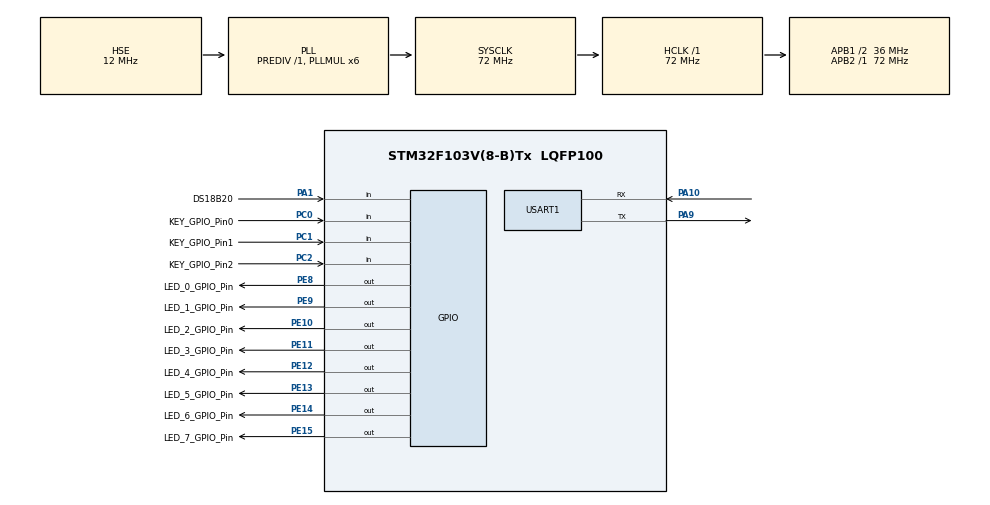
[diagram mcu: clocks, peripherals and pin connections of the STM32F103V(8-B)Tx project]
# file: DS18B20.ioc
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Mcu.Family=STM32F1
Mcu.Name=STM32F103V(8-B)Tx
Mcu.Package=LQFP100
NVIC.PriorityGroup=NVIC_PRIORITYGROUP_4
NVIC.TIM2_IRQn=true\:0\:0\:false\:false\:true\:true\:true
NVIC.TIM3_IRQn=true\:0\:0\:false\:false\:true\:true\:true
OSC_IN.Mode=HSE-External-Oscillator
OSC_IN.Signal=RCC_OSC_IN
OSC_OUT.Mode=HSE-External-Oscillator
OSC_OUT.Signal=RCC_OSC_OUT
PA1.GPIO_Label=DS18B20
PA1.GPIO_PuPd=GPIO_PULLUP
PA1.Signal=GPIO_Input
PA10.Mode=Asynchronous
PA10.Signal=USART1_RX
PA13.Mode=Serial_Wire
PA13.Signal=SYS_JTMS-SWDIO
PA14.Mode=Serial_Wire
PA14.Signal=SYS_JTCK-SWCLK
PA9.Mode=Asynchronous
PA9.Signal=USART1_TX
PC0.GPIO_Label=KEY_GPIO_Pin0
PC0.GPIO_PuPd=GPIO_PULLDOWN
PC0.Signal=GPIO_Input
PC1.GPIO_Label=KEY_GPIO_Pin1
PC1.GPIO_PuPd=GPIO_PULLDOWN
PC1.Signal=GPIO_Input
PC2.GPIO_Label=KEY_GPIO_Pin2
PC2.GPIO_PuPd=GPIO_PULLDOWN
PC2.Signal=GPIO_Input
PE10.GPIO_Label=LED_2_GPIO_Pin
PE10.GPIO_ModeDefaultOutputPP=GPIO_MODE_OUTPUT_PP
PE10.GPIO_PuPd=GPIO_PULLUP
PE10.GPIO_Speed=GPIO_SPEED_FREQ_HIGH
PE10.PinState=GPIO_PIN_SET
PE10.Signal=GPIO_Output
PE11.GPIO_Label=LED_3_GPIO_Pin
PE11.GPIO_ModeDefaultOutputPP=GPIO_MODE_OUTPUT_PP
PE11.GPIO_PuPd=GPIO_PULLUP
PE11.GPIO_Speed=GPIO_SPEED_FREQ_HIGH
PE11.PinState=GPIO_PIN_SET
PE11.Signal=GPIO_Output
PE12.GPIO_Label=LED_4_GPIO_Pin
PE12.GPIO_ModeDefaultOutputPP=GPIO_MODE_OUTPUT_PP
PE12.GPIO_PuPd=GPIO_PULLUP
PE12.GPIO_Speed=GPIO_SPEED_FREQ_HIGH
PE12.PinState=GPIO_PIN_SET
PE12.Signal=GPIO_Output
PE13.GPIO_Label=LED_5_GPIO_Pin
PE13.GPIO_ModeDefaultOutputPP=GPIO_MODE_OUTPUT_PP
PE13.GPIO_PuPd=GPIO_PULLUP
PE13.GPIO_Speed=GPIO_SPEED_FREQ_HIGH
PE13.PinState=GPIO_PIN_SET
PE13.Signal=GPIO_Output
PE14.GPIO_Label=LED_6_GPIO_Pin
PE14.GPIO_ModeDefaultOutputPP=GPIO_MODE_OUTPUT_PP
PE14.GPIO_PuPd=GPIO_PULLUP
PE14.GPIO_Speed=GPIO_SPEED_FREQ_HIGH
PE14.PinState=GPIO_PIN_SET
PE14.Signal=GPIO_Output
PE15.GPIO_Label=LED_7_GPIO_Pin
PE15.GPIO_ModeDefaultOutputPP=GPIO_MODE_OUTPUT_PP
PE15.GPIO_PuPd=GPIO_PULLUP
PE15.GPIO_Speed=GPIO_SPEED_FREQ_HIGH
PE15.PinState=GPIO_PIN_SET
PE15.Signal=GPIO_Output
PE8.GPIO_Label=LED_0_GPIO_Pin
PE8.GPIO_PuPd=GPIO_PULLUP
PE8.GPIO_Speed=GPIO_SPEED_FREQ_HIGH
PE8.PinState=GPIO_PIN_SET
PE8.Signal=GPIO_Output
PE9.GPIO_Label=LED_1_GPIO_Pin
PE9.GPIO_ModeDefaultOutputPP=GPIO_MODE_OUTPUT_PP
PE9.GPIO_PuPd=GPIO_PULLUP
PE9.GPIO_Speed=GPIO_SPEED_FREQ_HIGH
PE9.PinState=GPIO_PIN_SET
PE9.Signal=GPIO_Output
ProjectManager.HeapSize=0x200
ProjectManager.StackSize=0x400
ProjectManager.TargetToolchain=MDK-ARM V5
RCC.AHBFreq_Value=72000000
RCC.APB1CLKDivider=RCC_HCLK_DIV2
RCC.APB1Freq_Value=36000000
RCC.APB1TimFreq_Value=72000000
RCC.APB2Freq_Value=72000000
RCC.APB2TimFreq_Value=72000000
RCC.HCLKFreq_Value=72000000
RCC.HSE_VALUE=12000000
RCC.PLLMUL=RCC_PLL_MUL6
RCC.PLLSourceVirtual=RCC_PLLSOURCE_HSE
RCC.SYSCLKFreq_VALUE=72000000
RCC.SYSCLKSource=RCC_SYSCLKSOURCE_PLLCLK
RCC.USBFreq_Value=72000000
TIM2.CounterMode=TIM_COUNTERMODE_UP
TIM2.Period=0xffff-1
TIM2.Prescaler=72-1
TIM3.CounterMode=TIM_COUNTERMODE_UP
TIM3.Period=0xffff-1
TIM3.Prescaler=7200-1
USART1.VirtualMode=VM_ASYNC
VP_TIM2_VS_ClockSourceITR.Mode=TriggerSource_ITR2
VP_TIM3_VS_ClockSourceITR.Mode=TriggerSource_ITR3
board=custom

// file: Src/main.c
/* USER CODE BEGIN Header */
/**
  ******************************************************************************
  * @file           : main.c
  * @brief          : Main program body
  ******************************************************************************
  * @attention
  *
  * <h2><center>&copy; Copyright (c) 2019 STMicroelectronics.
  * All rights reserved.</center></h2>
  *
  * This software component is licensed by ST under BSD 3-Clause license,
  * the "License"; You may not use this file except in compliance with the
  * License. You may obtain a copy of the License at:
  *                        opensource.org/licenses/BSD-3-Clause
  *
  ******************************************************************************
  */
/* USER CODE END Header */

#include "main.h"
#include "tim.h"
#include "usart.h"
#include "gpio.h"
#include "bsp_ds18b20.h"
/* USER CODE BEGIN Includes */
#include <stdio.h>
/* USER CODE END Includes */

/* USER CODE BEGIN PD */
//DS18B20 number
#define DS18B20_NO 6

/* USER CODE END PD */

/* USER CODE BEGIN PV */

ROM_Code Codes[DS18B20_NO];
u8 DS18B20_Number=0;/*the actual number of ds18b20*/
extern unsigned char ROM_NO[8];
extern char OWFirst(void);																									   //when first use OWSearch
extern char OWNext(void);

/* USER CODE END PV */

void SystemClock_Config(void);
/* USER CODE BEGIN PFP */
#ifdef __GNUC__
#define PUTCHAR_PROTOTYPE int __io_putchar(int ch)
#else
#define PUTCHAR_PROTOTYPE int fputc(int ch, FILE *f)
#endif /* __GNUC__ */
PUTCHAR_PROTOTYPE
{
	HAL_UART_Transmit(&huart1 , (uint8_t *)&ch, 1, 0xFFFF);
	return ch;
}
/* USER CODE END PFP */

/* USER CODE BEGIN 0 */

/*TIM2 was test for 1us delay */
void delay_us(uint16_t delay)
{
  /*start time base*/
  HAL_TIM_Base_Start(&htim2);
  //use the user counter
    __HAL_TIM_SET_COUNTER(&htim2,0);//��ʼ�������ϼ�ʱ
  while(__HAL_TIM_GET_COUNTER(&htim2)<delay);
  HAL_TIM_Base_Stop(&htim2);
}

/* TIM3 delay for 1ms and maxium is 6553ms*/
void delay_1ms(uint16_t delay)
{
   /*start time base*/
   HAL_TIM_Base_Start(&htim3);
 //use the user counter
    __HAL_TIM_SET_COUNTER(&htim3,0);
  while(__HAL_TIM_GET_COUNTER(&htim3)<delay*10);
   HAL_TIM_Base_Stop(&htim3);
}

/*

*/
float show_Temp_uart(ROM_Code *ROM_NO){

  unsigned char T_Config=0,i=0,IsNegetive=0;
	u16 Tempcomplement;
	float Temperature;

	printf(" ");

	T_Config= DS18B20_Read_Temperature(ROM_NO,&Tempcomplement);//return for the temp_config

	/*int16*/
	if((short)Tempcomplement<0){
		Tempcomplement=~(Tempcomplement-1);
		IsNegetive=1;
	}
    /*different T_config is different accuracy*/
	 switch (T_Config)
    {
        case Temperature_9bit:Tempcomplement &= 0xfff8; printf("Config is 9... "); //reset the last 3 bit to 0
        break;
        case Temperature_10bit:Tempcomplement &= 0xfffb;printf("Config is 10... "); //reset the last 2 bit to 0
        break;
        case Temperature_11bit:Tempcomplement &= 0xfffe;printf("Config is 11... "); //reset the last 1 bit to 0
        break;
        case Temperature_12bit:printf("Config is 12 ..."); /*do nothing*/
        break;
    }
    Temperature=Tempcomplement*0.0625;
    printf("T is %.4f... \n",Temperature);
    return Temperature;
}

/*
	copy ROM Code from the global ROM search
*/
void ROM_Copy(unsigned char *rom_code, unsigned char *ROM_NO)
{

	int i = 0;
	for (; i < 8; ++i)
	{
		rom_code[i] = ROM_NO[i];
	}
	return;
}
void print_ROM_Code(unsigned char *ROM_NO){
   printf("0x%02x %02x %02x %02x %02x %02x %02x %02x \n",ROM_NO[0],ROM_NO[1],ROM_NO[2],ROM_NO[3],ROM_NO[4],ROM_NO[5],ROM_NO[6],ROM_NO[7]);

}
/* USER CODE END 0 */

int main(void)
{
  /* USER CODE BEGIN 1 */
  /*  */
  char result;
   u8 i=0;
  unsigned char *pcode=NULL;
  /* USER CODE END 1 */

  /* MCU Configuration--------------------------------------------------------*/

  /* Reset of all peripherals, Initializes the Flash interface and the Systick. */
  HAL_Init();

  /* Configure the system clock */
  SystemClock_Config();

  /* Initialize all configured peripherals */
  MX_GPIO_Init();
  MX_TIM2_Init();
  MX_TIM3_Init();
  MX_USART1_UART_Init();
  /* USER CODE BEGIN 2 */
  i=0;
  /**/
  printf("Searching DS18B20......\n");
  result= OWFirst();
  printf("the NO.%d ROM :0x%02x %02x %02x %02x %02x %02x %02x %02x \n",i,ROM_NO[0],ROM_NO[1],ROM_NO[2],ROM_NO[3],ROM_NO[4],ROM_NO[5],ROM_NO[6],ROM_NO[7]);
  pcode=&(Codes[i].Family_Code);
  ROM_Copy(pcode,(unsigned char *)&ROM_NO);
  ++i;
 while (result)
	{
		result = OWNext();
    if(result){
      printf("the NO.%d ROM :0x%02x %02x %02x %02x %02x %02x %02x %02x \n",i,ROM_NO[0],ROM_NO[1],ROM_NO[2],ROM_NO[3],ROM_NO[4],ROM_NO[5],ROM_NO[6],ROM_NO[7]);
      pcode=&(Codes[i].Family_Code);
      ROM_Copy(pcode,(unsigned char *)&ROM_NO);
      ++i;
    }
	}
  printf("Search ROM done,%d devices detected\n",i);
  DS18B20_Number=i;
  /* USER CODE END 2 */

  /* Infinite loop */
  printf("Stored ROM Codes %d:\n",DS18B20_Number);
  for(i=0;i<DS18B20_Number;++i){
     printf("Stored the NO.%d ROM :",i+1);
     pcode=&(Codes[i].Family_Code);
     print_ROM_Code(pcode);
  }

  /* USER CODE BEGIN WHILE */
   printf("Now reading temperature,ordering by the rom_Seach up above\n\n");
  while (1)
  {

     delay_1ms(1000);//
     DS18B20_Reset();
     DS18B20_Write_Byte(Skip_ROM_Command);
     DS18B20_Write_Byte(Convert_Temperature_Command);
     delay_1ms(500);
    for(i=0;i<DS18B20_Number;++i)
     show_Temp_uart(&Codes[i]);
    printf("\n\n");

    /**/

    /* USER CODE END WHILE */
  }
}

void SystemClock_Config(void)
{
  RCC_OscInitTypeDef RCC_OscInitStruct = {0};
  RCC_ClkInitTypeDef RCC_ClkInitStruct = {0};

  /** Initializes the CPU, AHB and APB busses clocks
  */
  RCC_OscInitStruct.OscillatorType = RCC_OSCILLATORTYPE_HSE;
  RCC_OscInitStruct.HSEState = RCC_HSE_ON;
  RCC_OscInitStruct.HSEPredivValue = RCC_HSE_PREDIV_DIV1;
  RCC_OscInitStruct.HSIState = RCC_HSI_ON;
  RCC_OscInitStruct.PLL.PLLState = RCC_PLL_ON;
  RCC_OscInitStruct.PLL.PLLSource = RCC_PLLSOURCE_HSE;
  RCC_OscInitStruct.PLL.PLLMUL = RCC_PLL_MUL6;
  if (HAL_RCC_OscConfig(&RCC_OscInitStruct) != HAL_OK)
  {
    Error_Handler();
  }
  /** Initializes the CPU, AHB and APB busses clocks
  */
  RCC_ClkInitStruct.ClockType = RCC_CLOCKTYPE_HCLK|RCC_CLOCKTYPE_SYSCLK
                              |RCC_CLOCKTYPE_PCLK1|RCC_CLOCKTYPE_PCLK2;
  RCC_ClkInitStruct.SYSCLKSource = RCC_SYSCLKSOURCE_PLLCLK;
  RCC_ClkInitStruct.AHBCLKDivider = RCC_SYSCLK_DIV1;
  RCC_ClkInitStruct.APB1CLKDivider = RCC_HCLK_DIV2;
  RCC_ClkInitStruct.APB2CLKDivider = RCC_HCLK_DIV1;

  if (HAL_RCC_ClockConfig(&RCC_ClkInitStruct, FLASH_LATENCY_2) != HAL_OK)
  {
    Error_Handler();
  }
}

void Error_Handler(void)
{
}

/************************ (C) COPYRIGHT STMicroelectronics *****END OF FILE****/
